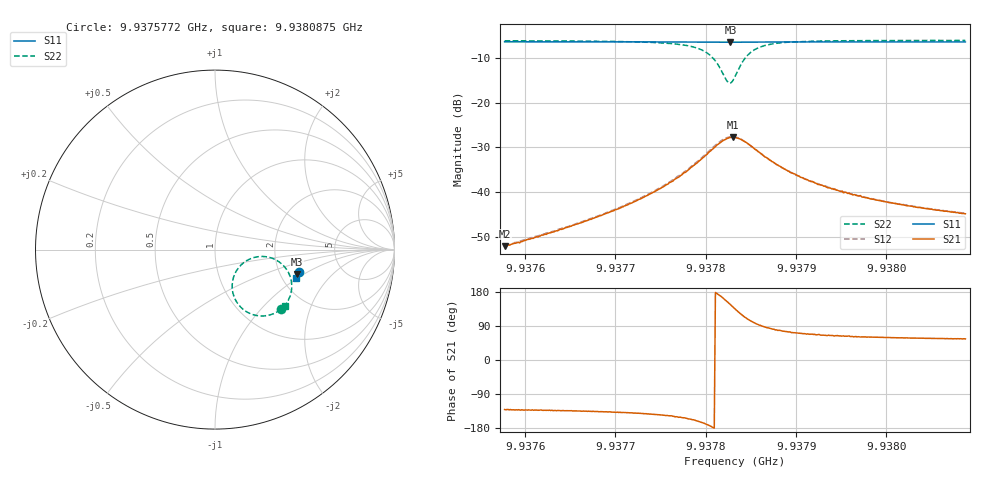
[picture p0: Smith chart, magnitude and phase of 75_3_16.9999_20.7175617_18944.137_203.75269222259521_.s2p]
#  HZ  S  RI  R  50.00
! Rohde & Schwarz Vector Network Analyzer
! Rohde-Schwarz,ZNB20-2Port,1311601062101988,3.16
! Created: UTC 3/20/2024, 10:55:23 PM
! freq[Hz]  re:S11  im:S11  re:S21  im:S21  re:S12  im:S12  re:S22  im:S22
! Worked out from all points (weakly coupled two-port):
!   401 points, 9.9375772 GHz to 9.9380875 GHz, reference 50 ohm
!   highest |S21| = -27.75 dB at 9.9378298 GHz (marker M1); lowest = -52.1 dB at 9.9375772 GHz (marker M2)
!   lowest |S11| = -6.4 dB at 9.9378273 GHz (marker M3), VSWR 2.82, Z = 123 - j43.9 ohm
!   |S11| at or under -10 dB: nowhere
!   |S22| runs from -15.6 to -6.0 dB; largest |S21 - S12| = 0.0023
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9.93757721e9  0.4658 -0.1243  -0.00162 -0.00188  -0.00166 -0.00183  0.3666 -0.3327
9.93766269e9  0.4638 -0.1301  -0.00323 -0.0032  -0.0033 -0.00327  0.348 -0.3457
9.93770607e9  0.4627 -0.1332  -0.00498 -0.00444  -0.00513 -0.00448  0.3296 -0.3552
9.93774817e9  0.4613 -0.1362  -0.00875 -0.00624  -0.00908 -0.00623  0.2951 -0.3667
9.93777879e9  0.4597 -0.1386  -0.0153 -0.00748  -0.0159 -0.00736  0.2374 -0.3683
9.93779793e9  0.4583 -0.1398  -0.024 -0.00568  -0.0251 -0.00501  0.1677 -0.341
9.93780813e9  0.457 -0.1401  -0.0305 -0.000949  -0.0319 0.000156  0.1205 -0.2917
9.93781579e9  0.4564 -0.1397  -0.035 0.00628  -0.036 0.008  0.097 -0.2248
9.93782344e9  0.4557 -0.1389  -0.0359 0.017  -0.036 0.0192  0.1097 -0.1369
9.93782727e9  0.4557 -0.1385  -0.0339 0.0227  -0.0334 0.0247  0.1362 -0.0953
9.93782982e9  0.4558 -0.1383  -0.0316 0.026  -0.031 0.0281  0.1606 -0.0723
9.93783237e9  0.4562 -0.138  -0.0289 0.029  -0.0277 0.0307  0.189 -0.0549
9.93783875e9  0.4568 -0.1378  -0.0202 0.0333  -0.0188 0.0345  0.2631 -0.0382
9.93784386e9  0.4574 -0.1377  -0.0138 0.0336  -0.0122 0.0344  0.3152 -0.0469
9.93785023e9  0.4581 -0.1385  -0.00717 0.0318  -0.00586 0.0322  0.3625 -0.0724
9.93785789e9  0.4585 -0.1391  -0.00183 0.0284  -0.000878 0.0285  0.397 -0.1082
9.93787065e9  0.459 -0.1404  0.00249 0.0227  0.00331 0.0228  0.4213 -0.1593
9.93788851e9  0.4589 -0.1422  0.00454 0.0172  0.00507 0.0171  0.4277 -0.2065
9.93791785e9  0.4585 -0.1449  0.00488 0.0122  0.0052 0.0121  0.4219 -0.2487
9.93795102e9  0.4575 -0.1472  0.00462 0.00912  0.00486 0.00893  0.413 -0.2733
9.93800333e9  0.4562 -0.1509  0.00388 0.00655  0.00409 0.00652  0.4018 -0.2939
9.93808753e9  0.454 -0.1565  0.00322 0.0047  0.00335 0.00471  0.3899 -0.3117
